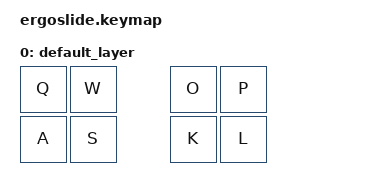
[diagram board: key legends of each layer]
#include <behaviors.dtsi>
#include <dt-bindings/zmk/keys.h>

/ {
    keymap {
        compatible = "zmk,keymap";

        default_layer {
            bindings = <
                &kp Q &kp W       &kp O &kp P
                &kp A &kp S       &kp K &kp L
            >;
        };
    };
 };
